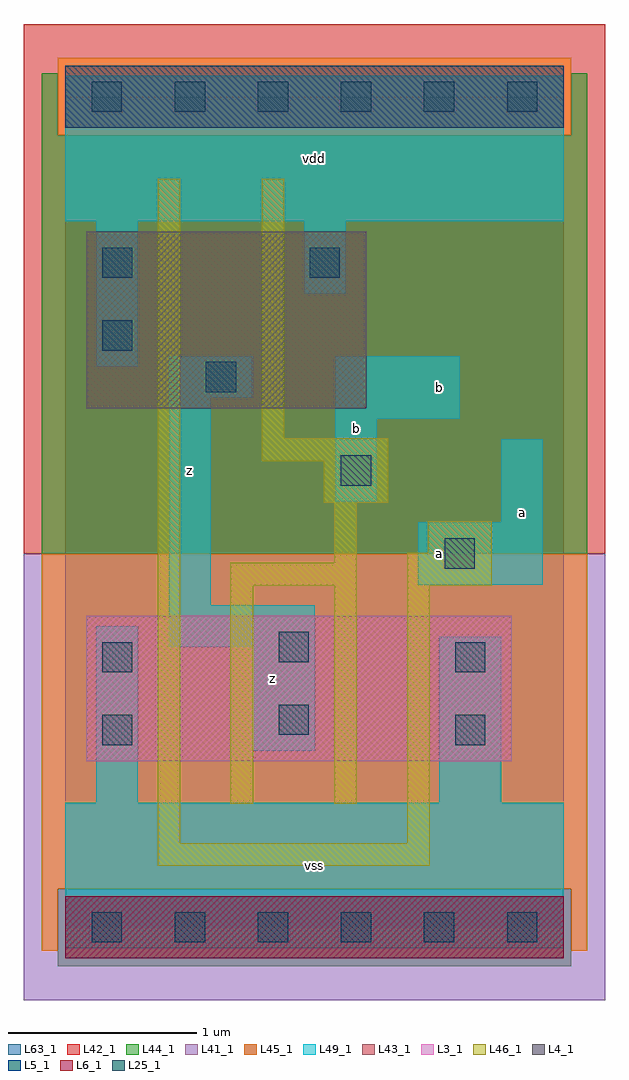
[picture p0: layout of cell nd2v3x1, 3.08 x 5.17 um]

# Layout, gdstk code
import gdstk
lib = gdstk.Library(unit=1e-6, precision=1e-09)
def R(c, l, rs):  # rectangles x0, y0, x1, y1
    for r in rs: c.add(gdstk.rectangle(r[:2], r[2:], *l))
def A(c, l, x, y, w, h, nx, ny, dx, dy):  # array of equal rectangles
    R(c, l, [(x+i*dx, y+j*dy, x+i*dx+w, y+j*dy+h) for i in range(nx) for j in range(ny)])
L3_1 = (3, 1)
L4_1 = (4, 1)
L5_1 = (5, 1)
L6_1 = (6, 1)
L25_1 = (25, 1)
L41_1 = (41, 1)
L42_1 = (42, 1)
L43_1 = (43, 1)
L44_1 = (44, 1)
L45_1 = (45, 1)
L46_1 = (46, 1)
L49_1 = (49, 1)
L63_1 = (63, 1)

nd2v3x1 = lib.new_cell('nd2v3x1')
R(nd2v3x1, L3_1, [(0.11,0.88,2.365,1.65)])
R(nd2v3x1, L4_1, [(0.11,2.75,1.595,3.685)])
R(nd2v3x1, L5_1, [(0,4.235,2.64,4.565)])
R(nd2v3x1, L6_1, [(0,-0.165,2.64,0.165)])
A(nd2v3x1, L25_1, 0.14, -0.08, 0.16, 0.16, 6, 2, 0.44, 4.4)
R(nd2v3x1, L25_1, [(0.195,0.965,0.355,1.125), (2.065,0.965,2.225,1.125), (1.13,1.02,1.29,1.18), (0.195,1.35,0.355,1.51), (2.065,1.35,2.225,1.51), (1.13,1.405,1.29,1.565), (2.01,1.9,2.17,2.06), (1.46,2.34,1.62,2.5), (0.745,2.835,0.905,2.995), (0.195,3.055,0.355,3.215), (0.195,3.44,0.355,3.6), (1.295,3.44,1.455,3.6)])
R(nd2v3x1, L41_1, [(-0.22,-0.385,2.86,1.98)])
R(nd2v3x1, L42_1, [(-0.22,1.98,2.86,4.785)])
R(nd2v3x1, L43_1, [(0,-0.165,2.64,0.165), (0.11,0.88,2.365,1.65), (0.11,2.75,1.595,3.685), (0,4.235,2.64,4.565)])
R(nd2v3x1, L44_1, [(-0.04,-0.205,2.68,0.205), (-0.125,1.98,2.765,4.195), (-0.125,4.195,-0.04,4.525), (2.68,4.195,2.765,4.525)])
R(nd2v3x1, L45_1, [(-0.125,-0.125,-0.04,0.205), (2.68,-0.125,2.765,0.205), (-0.125,0.205,2.765,1.98), (-0.04,4.195,2.68,4.605)])
R(nd2v3x1, L46_1, [(0.49,0.325,1.93,0.445), (0.49,0.445,0.61,3.965), (1.81,0.445,1.93,1.81), (0.875,0.655,0.995,1.81), (1.425,0.655,1.545,1.81), (0.875,1.81,1.545,1.93), (1.81,1.81,2.26,1.985), (1.425,1.93,1.545,2.25), (1.92,1.985,2.26,2.15), (1.37,2.25,1.71,2.47), (1.04,2.47,1.71,2.59), (1.04,2.59,1.16,3.965)])
R(nd2v3x1, L49_1, [(0,-0.11,2.64,0.66), (0.165,0.66,0.385,1.595), (1.98,0.66,2.31,1.54), (0.99,0.935,1.32,1.485), (0.55,1.485,1.32,1.705), (0.55,1.705,0.77,2.805), (1.87,1.815,2.53,2.145), (2.31,2.145,2.53,2.585), (1.43,2.255,1.65,2.695), (1.43,2.695,2.09,3.025), (0.55,2.805,0.99,3.025), (0.165,2.97,0.385,3.74), (1.265,3.355,1.485,3.74), (0,3.74,2.64,4.51)])
R(nd2v3x1, L63_1, [(0,0,2.64,4.4)])
nd2v3x1.add(gdstk.Label('z', (1.1,1.32), layer=49, texttype=1))
nd2v3x1.add(gdstk.Label('z', (0.66,2.42), layer=49, texttype=1))
nd2v3x1.add(gdstk.Label('vss', (1.32,0.33), layer=49, texttype=1))
nd2v3x1.add(gdstk.Label('b', (1.54,2.64), layer=49, texttype=1))
nd2v3x1.add(gdstk.Label('vdd', (1.32,4.07), layer=49, texttype=1))
nd2v3x1.add(gdstk.Label('a', (1.98,1.98), layer=49, texttype=1))
nd2v3x1.add(gdstk.Label('a', (2.42,2.2), layer=49, texttype=1))
nd2v3x1.add(gdstk.Label('b', (1.98,2.86), layer=49, texttype=1))

lib.write_gds('nd2v3x1.gds')
